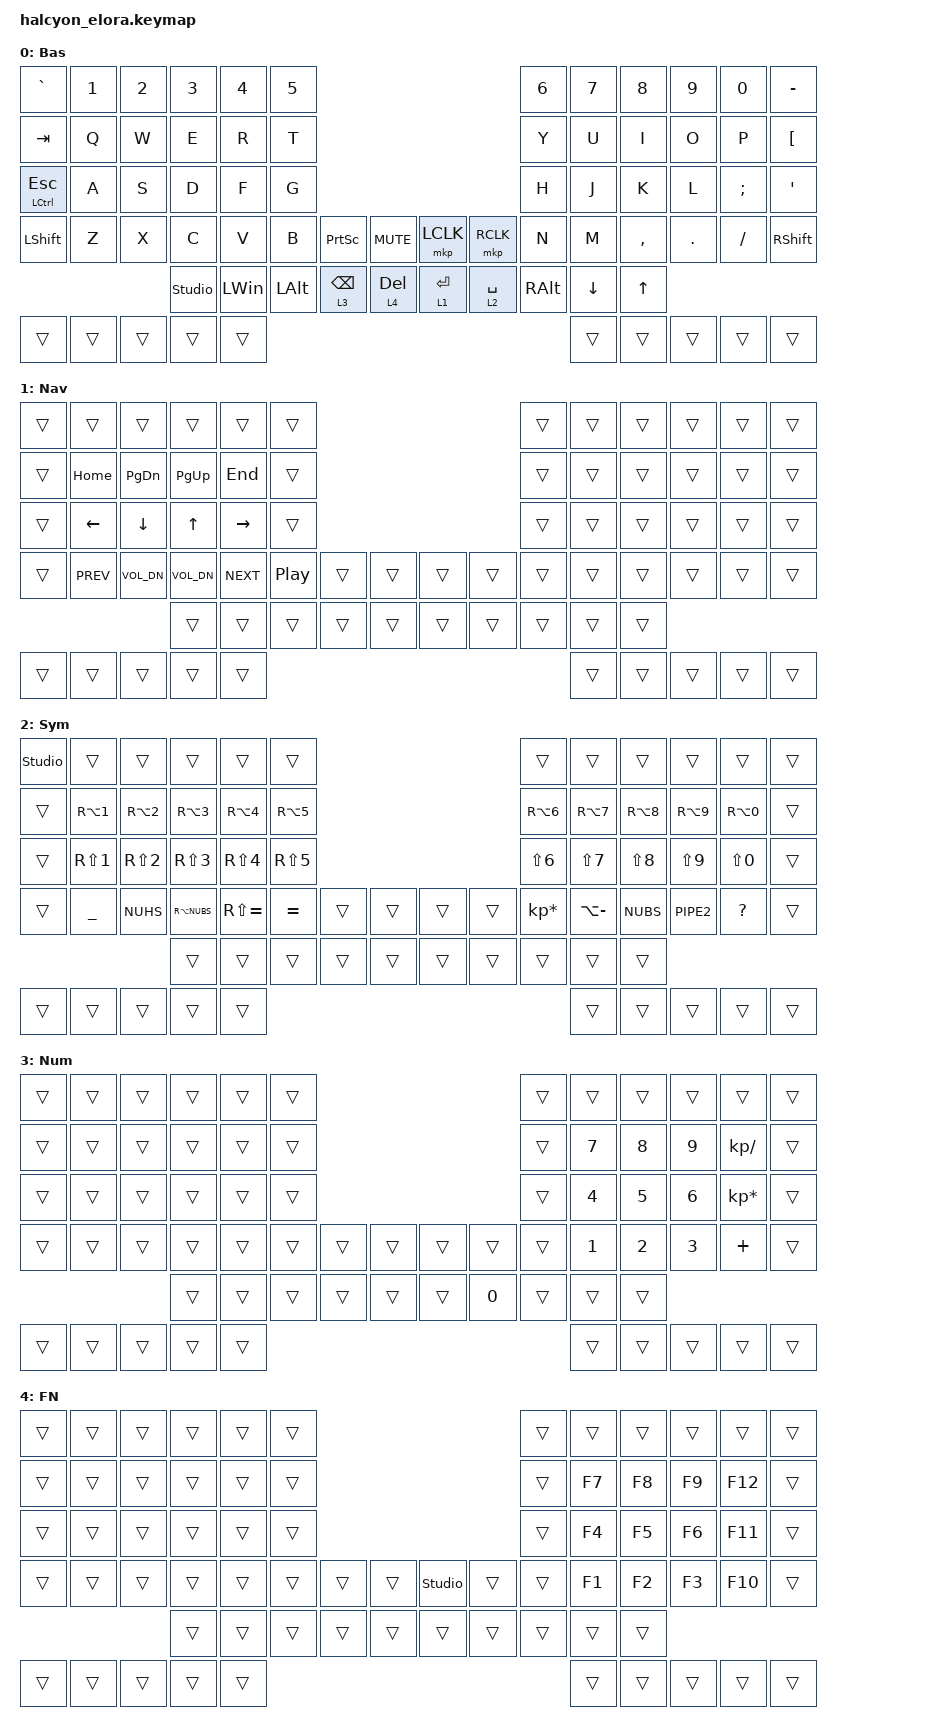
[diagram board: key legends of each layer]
#include <behaviors.dtsi>
#include <dt-bindings/zmk/keys.h>

#define ZMK_POINTING_DEFAULT_MOVE_VAL 5000  // default: 600
#define ZMK_POINTING_DEFAULT_SCRL_VAL 20    // default: 10

#include <dt-bindings/zmk/pointing.h>

&mmv {
    x-input-code = <INPUT_REL_X>;
    y-input-code = <INPUT_REL_Y>;
    time-to-max-speed-ms = <300>;
    acceleration-exponent = <1>;
};

/ {
    combos {
        compatible = "zmk,combos";

        Mouse3 {
            bindings = <&mkp MCLK>;
            key-positions = <44 45>;
        };
    };

    keymap {
        compatible = "zmk,keymap";

        Base {
            bindings = <
&kp GRAVE         &kp N1  &kp N2  &kp N3          &kp N4        &kp N5                                                           &kp N6    &kp N7    &kp N8        &kp N9   &kp N0     &kp MINUS
&kp TAB           &kp Q   &kp W   &kp E           &kp R         &kp T                                                            &kp Y     &kp U     &kp I         &kp O    &kp P      &kp LBKT
&mt LCTRL ESCAPE  &kp A   &kp S   &kp D           &kp F         &kp G                                                            &kp H     &kp J     &kp K         &kp L    &kp SEMI   &kp APOS
&kp LSHFT         &kp Z   &kp X   &kp C           &kp V         &kp B     &kp PRINTSCREEN  &kp K_MUTE  &mkp LCLK    &mkp RCLK    &kp N     &kp M     &kp COMMA     &kp DOT  &kp SLASH  &kp RSHFT
                                  &studio_unlock  &kp LEFT_WIN  &kp LALT  &lt 3 BACKSPACE  &lt 4 DEL   &lt 1 ENTER  &lt 2 SPACE  &kp RALT  &kp DOWN  &kp UP_ARROW
&trans            &trans  &trans  &trans          &trans                                                                                   &trans    &trans        &trans   &trans     &trans
            >;

            label = "Bas";
        };

        Nav {
            bindings = <
&trans  &trans      &trans         &trans        &trans      &trans                                    &trans  &trans  &trans  &trans  &trans  &trans
&trans  &kp HOME    &kp PAGE_DOWN  &kp PG_UP     &kp END     &trans                                    &trans  &trans  &trans  &trans  &trans  &trans
&trans  &kp LEFT    &kp DOWN       &kp UP        &kp RIGHT   &trans                                    &trans  &trans  &trans  &trans  &trans  &trans
&trans  &kp C_PREV  &kp C_VOL_DN   &kp C_VOL_DN  &kp C_NEXT  &kp C_PP  &trans  &trans  &trans  &trans  &trans  &trans  &trans  &trans  &trans  &trans
                                   &trans        &trans      &trans    &trans  &trans  &trans  &trans  &trans  &trans  &trans
&trans  &trans      &trans         &trans        &trans                                                        &trans  &trans  &trans  &trans  &trans
            >;

            label = "Nav";
        };

        Symbol {
            bindings = <
&studio_unlock  &trans      &trans      &trans        &trans         &trans                                      &trans           &trans         &trans      &trans      &trans      &trans
&trans          &kp RA(N1)  &kp RA(N2)  &kp RA(N3)    &kp RA(N4)     &kp RA(N5)                                  &kp RA(N6)       &kp RA(N7)     &kp RA(N8)  &kp RA(N9)  &kp RA(N0)  &trans
&trans          &kp RS(N1)  &kp RS(N2)  &kp RS(N3)    &kp RS(N4)     &kp RS(N5)                                  &kp LS(N6)       &kp LS(N7)     &kp LS(N8)  &kp LS(N9)  &kp LS(N0)  &trans
&trans          &kp UNDER   &kp NUHS    &kp RA(NUBS)  &kp RS(EQUAL)  &kp EQUAL   &trans  &trans  &trans  &trans  &kp KP_ASTERISK  &kp LA(MINUS)  &kp NUBS    &kp PIPE2   &kp QMARK   &trans
                                        &trans        &trans         &trans      &trans  &trans  &trans  &trans  &trans           &trans         &trans
&trans          &trans      &trans      &trans        &trans                                                                      &trans         &trans      &trans      &trans      &trans
            >;

            label = "Sym";
        };

        Num {
            bindings = <
&trans  &trans  &trans  &trans  &trans  &trans                                  &trans  &trans  &trans  &trans  &trans           &trans
&trans  &trans  &trans  &trans  &trans  &trans                                  &trans  &kp N7  &kp N8  &kp N9  &kp KP_DIVIDE    &trans
&trans  &trans  &trans  &trans  &trans  &trans                                  &trans  &kp N4  &kp N5  &kp N6  &kp KP_MULTIPLY  &trans
&trans  &trans  &trans  &trans  &trans  &trans  &trans  &trans  &trans  &trans  &trans  &kp N1  &kp N2  &kp N3  &kp PLUS         &trans
                        &trans  &trans  &trans  &trans  &trans  &trans  &kp N0  &trans  &trans  &trans
&trans  &trans  &trans  &trans  &trans                                                  &trans  &trans  &trans  &trans           &trans
            >;

            label = "Num";
        };

        FN {
            bindings = <
&trans  &trans  &trans  &trans  &trans  &trans                                          &trans  &trans  &trans  &trans  &trans   &trans
&trans  &trans  &trans  &trans  &trans  &trans                                          &trans  &kp F7  &kp F8  &kp F9  &kp F12  &trans
&trans  &trans  &trans  &trans  &trans  &trans                                          &trans  &kp F4  &kp F5  &kp F6  &kp F11  &trans
&trans  &trans  &trans  &trans  &trans  &trans  &trans  &trans  &studio_unlock  &trans  &trans  &kp F1  &kp F2  &kp F3  &kp F10  &trans
                        &trans  &trans  &trans  &trans  &trans  &trans          &trans  &trans  &trans  &trans
&trans  &trans  &trans  &trans  &trans                                                          &trans  &trans  &trans  &trans   &trans
            >;

            label = "FN";
        };
    };
};
